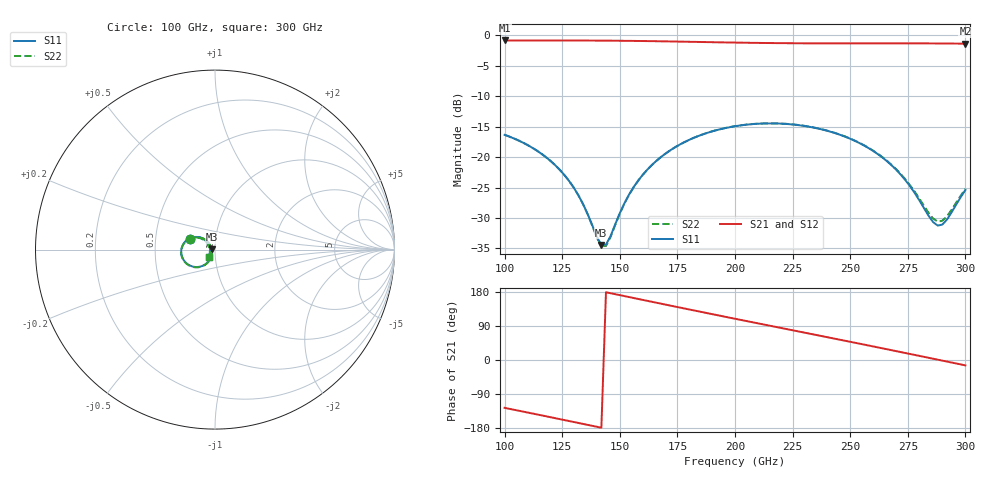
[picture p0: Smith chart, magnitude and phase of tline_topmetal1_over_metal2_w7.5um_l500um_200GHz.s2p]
#  GHZ S DB R 50
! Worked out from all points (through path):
!   101 points, 100 GHz to 300 GHz, reference 50 ohm
!   highest |S21| = -0.85 dB at 100 GHz (marker M1); lowest = -1.4 dB at 300 GHz (marker M2)
!   group delay of S21, straight-line fit = 3.43 ps
!   lowest |S11| = -34.4 dB at 142 GHz (marker M3), VSWR 1.04, Z = 48.1 + j0.112 ohm
!   |S11| at or under -10 dB: start of sweep to end of sweep
!   |S22| runs from -34.6 to -14.5 dB; largest |S21 - S12| = 1.5e-14
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100  -16.35 157.3  -0.85 -126.3  -0.85 -126.3  -16.34 157.6
110  -18.03 146.5  -0.85 -138.6  -0.85 -138.6  -18.02 146.8
120  -20.66 137.2  -0.85 -151.0  -0.85 -151.0  -20.65 137.5
128  -23.93 132.8  -0.86 -161.1  -0.86 -161.1  -23.93 132.9
134  -27.67 135.1  -0.86 -168.6  -0.86 -168.6  -27.70 135.0
142  -34.42 176.5  -0.88 -178.7  -0.88 -178.7  -34.63 176.6
144  -34.37 -160.8  -0.88 178.8  -0.88 178.8  -34.60 -160.0
152  -27.58 -120.3  -0.91 168.7  -0.91 168.7  -27.63 -119.0
156  -24.93 -117.9  -0.92 163.6  -0.92 163.6  -24.95 -116.7
162  -22.04 -119.7  -0.95 156.0  -0.95 156.0  -22.04 -118.6
168  -19.95 -124.0  -0.99 148.5  -0.99 148.5  -19.95 -123.0
182  -16.86 -137.5  -1.08 131.0  -1.08 131.0  -16.85 -136.5
200  -14.94 -156.8  -1.20 108.9  -1.20 108.9  -14.92 -155.6
216  -14.47 -174.1  -1.28 89.4  -1.28 89.4  -14.45 -172.9
234  -15.15 166.8  -1.32 67.6  -1.32 67.6  -15.12 168.2
252  -17.33 149.0  -1.33 45.6  -1.33 45.6  -17.29 150.8
268  -21.36 137.6  -1.32 25.8  -1.32 25.8  -21.28 139.9
274  -23.81 137.0  -1.32 18.4  -1.32 18.4  -23.68 139.7
284  -29.62 156.0  -1.33 5.9  -1.33 5.9  -29.16 159.0
288  -31.25 -179.3  -1.34 0.8  -1.34 0.8  -30.60 -177.8
292  -30.26 -151.9  -1.35 -4.2  -1.35 -4.2  -29.73 -152.4
300  -25.40 -129.1  -1.37 -14.2  -1.37 -14.2  -25.21 -129.7
